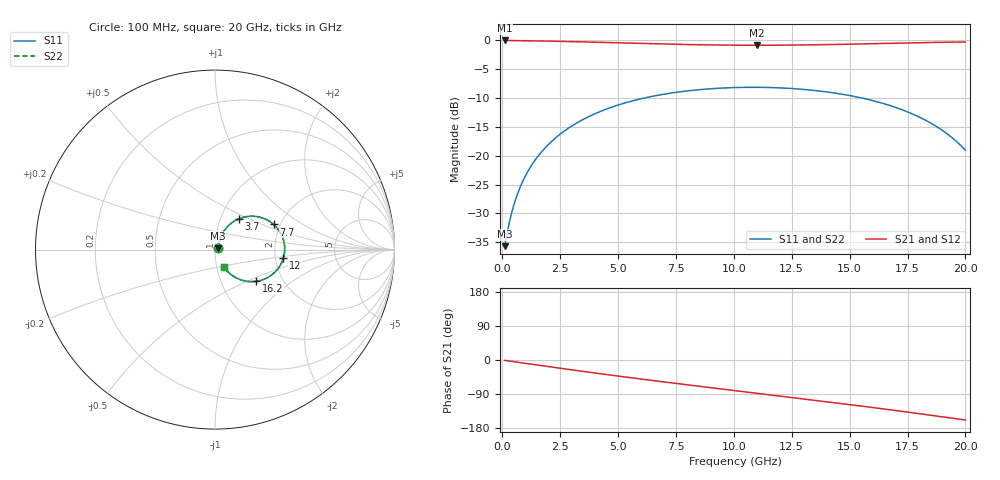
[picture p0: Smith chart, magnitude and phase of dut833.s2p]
! Touchstone file exported from HFSS 2026.1.0
!  File:  C:/ffzhzh/LocalFiles/Ansys_Project_Files/temp_train_TSV_RDL_833_1783267057_38820.aedt
!  Generated:  12:06:37 AM Jul  6, 2026
!  Design:  TSV_RDL
!  Project:  temp_train_TSV_RDL_833_1783267057_38820
! Variables:
!  h_bsmrdl = 2.35um
!  h_ox = 20um
!  h_rdl = 5um
!  h_sub = 53.49um
!  h_tmrdl = 3.61um
!  h_tsv = 53.49um
!  h_via = 3um
!  l_bsmrdl = 270.74um
!  l_sub = 2695.58um
!  l_tmrdl = 342.22um
!  m_sub = 200um
!  pitch = 39.46um
!  r_tsv = 13.2um
!  s_tmrdl = 10um
!  w_bsmrdl = 15.64um
!  w_sub = 500um
!  w_tmrdl = 22.52um
!  x_tsv_center1 = 353.48um
!  x_tsv_center2 = 639.86um
!  x_tsv_center3 = 1004.6um
!  x_tsv_center4 = 1290.98um
!  x_tsv_center5 = 1655.72um
!  x_tsv_center6 = 1942.1um
# GHz S MA R 50.000000
! Terminal data exported
! Port[1] = TM_RDL1_1_T1
! Port[2] = TM_RDL5_1_T1
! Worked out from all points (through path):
!   200 points, 100 MHz to 20 GHz, reference 50 ohm
!   highest |S21| = -0.13 dB at 100 MHz (marker M1); lowest = -1.0 dB at 11 GHz (marker M2)
!   group delay of S21, straight-line fit = 21.4 ps
!   lowest |S11| = -35.6 dB at 100 MHz (marker M3), VSWR 1.03, Z = 51.5 + j0.721 ohm
!   |S11| at or under -10 dB: start of sweep to 6.21 GHz; 15.45 GHz to end of sweep
!   |S22| runs from -35.6 to -8.2 dB; largest |S21 - S12| = 3.9e-14
!   S11 on the Smith chart (normalised r, x): 100 MHz: 1.03, +0.01; 3.7 GHz: 1.22, +0.44; 7.7 GHz: 1.85, +0.59; 12 GHz: 2.21, -0.25; 16.2 GHz: 1.47, -0.57; 20 GHz: 1.08, -0.22
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0.1  0.01651 25.1  0.9851 -0.9  0.9851 -0.9  0.01651 25.1
! Gamma 0 0 0 0
! Port Impedance 50 0 50 0
0.4  0.03184 55.2  0.9831 -3.6  0.9831 -3.6  0.03184 55.2
0.6  0.04334 61.1  0.9819 -5.4  0.9819 -5.4  0.04334 61.1
0.9  0.06094 64.7  0.9801 -8.0  0.9801 -8.0  0.06094 64.7
1.2  0.07864 65.6  0.9783 -10.6  0.9783 -10.6  0.07864 65.6
1.7  0.1079 64.7  0.9748 -14.9  0.9748 -14.9  0.1079 64.7
2.2  0.1364 62.3  0.9706 -19.2  0.9706 -19.2  0.1364 62.3
3.5  0.2055 53.9  0.9572 -30.2  0.9572 -30.2  0.2055 53.9
3.7  0.2153 52.5  0.9549 -31.8  0.9549 -31.8  0.2153 52.5
5.1  0.2769 42.2  0.938 -43.2  0.938 -43.2  0.2769 42.2
6.8  0.3336 29.7  0.9187 -56.5  0.9187 -56.5  0.3337 29.7
7.7  0.3555 23.2  0.9102 -63.3  0.9102 -63.3  0.3555 23.2
10.1  0.3866 6.2  0.8968 -81.1  0.8968 -81.1  0.3866 6.2
11  0.3883 -0.1  0.8957 -87.7  0.8957 -87.7  0.3883 -0.1
12  0.3837 -7.2  0.897 -95.0  0.897 -95.0  0.3838 -7.2
13.4  0.3661 -17.1  0.903 -105.4  0.903 -105.4  0.3661 -17.1
14.8  0.3352 -27.2  0.913 -116.0  0.913 -116.0  0.3352 -27.2
16.2  0.2909 -37.4  0.9256 -127.0  0.9256 -127.0  0.2909 -37.4
16.7  0.2719 -41.0  0.9304 -131.0  0.9304 -131.0  0.2719 -41.1
18.6  0.1858 -54.7  0.947 -146.6  0.947 -146.6  0.1859 -54.7
19.4  0.144 -59.8  0.9524 -153.3  0.9524 -153.3  0.144 -59.9
20  0.1109 -62.9  0.9554 -158.4  0.9554 -158.4  0.1109 -63.0
